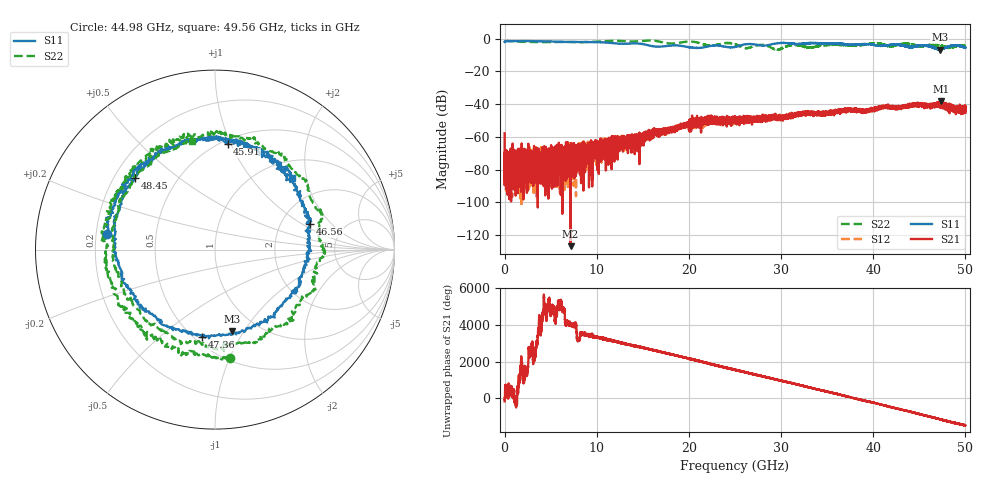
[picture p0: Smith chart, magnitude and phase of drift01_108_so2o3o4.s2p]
!Created with skrf (http://scikit-rf.org).
# Hz S RI R 50.0
!freq ReS11 ImS11 ReS21 ImS21 ReS12 ImS12 ReS22 ImS22
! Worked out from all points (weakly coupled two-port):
!   10001 points, 300 kHz to 50 GHz, reference 50 ohm
!   highest |S21| = -38.34 dB at 47.37 GHz (marker M1); lowest = -126.8 dB at 7.165 GHz (marker M2)
!   lowest |S11| = -6.6 dB at 47.22 GHz (marker M3), VSWR 2.75, Z = 38.2 - j44.6 ohm
!   |S11| at or under -10 dB: nowhere
!   |S22| runs from -6.8 to -1.0 dB; largest |S21 - S12| = 0.0038
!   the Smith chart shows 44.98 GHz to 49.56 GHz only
!   S11 on the Smith chart (normalised r, x): 44.98 GHz: 0.24, +0.07; 45.91 GHz: 0.54, +0.97; 46.56 GHz: 2.88, +1.18; 47.36 GHz: 0.55, -0.70; 48.45 GHz: 0.28, +0.35; 49.56 GHz: 1.35, +1.66
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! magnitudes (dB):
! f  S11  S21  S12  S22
! 300 kHz  -2.0  -57.8  -72.9  -1.3
! 255.3 MHz  -1.4  -69.7  -82.1  -1.4
! 580.3 MHz  -1.5  -94.2  -72.9  -1.4
! 5.46 GHz  -1.7  -88.4  -70.1  -2.0
! 7.165 GHz  -1.9  -126.8  -80.9  -2.0
! 8.335 GHz  -1.9  -74.5  -73.7  -2.1
! 16.67 GHz  -4.8  -56.4  -57.1  -1.6
! 22.16 GHz  -4.6  -50.7  -48.6  -4.0
! 25 GHz  -5.0  -50.4  -49.4  -3.4
! 29.53 GHz  -2.8  -48.5  -47.4  -6.7
! 31.3 GHz  -3.1  -46.2  -46.5  -3.9
! 33.34 GHz  -2.5  -44.8  -45.3  -5.3
! 41.67 GHz  -3.9  -42.0  -41.4  -4.5
! 44.98 GHz  -4.3  -40.3  -40.3  -4.3
! 45.91 GHz  -4.6  -39.9  -40.1  -4.1
! 46.56 GHz  -5.2  -41.1  -40.6  -3.9
! 47.22 GHz  -6.6  -40.3  -41.7  -4.4
! 47.36 GHz  -6.2  -41.7  -40.1  -4.5
! 47.37 GHz  -6.3  -38.3  -40.8  -4.7
! 48.45 GHz  -4.5  -40.5  -42.6  -5.2
! 49.56 GHz  -4.6  -41.9  -42.0  -4.2
! 50 GHz  -5.4  -45.3  -43.0  -4.2
